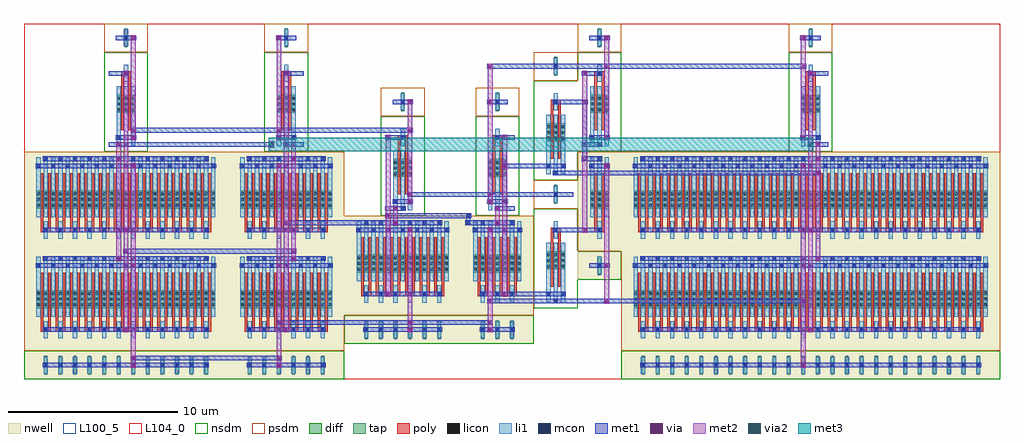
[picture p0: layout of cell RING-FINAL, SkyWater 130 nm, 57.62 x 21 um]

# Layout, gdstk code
import gdstk
lib = gdstk.Library(unit=1e-6, precision=1e-09)
def R(c, l, rs):  # rectangles x0, y0, x1, y1
    for r in rs: c.add(gdstk.rectangle(r[:2], r[2:], *l))
def A(c, l, x, y, w, h, nx, ny, dx, dy):  # array of equal rectangles
    R(c, l, [(x+i*dx, y+j*dy, x+i*dx+w, y+j*dy+h) for i in range(nx) for j in range(ny)])
nwell = (64, 20)
diff = (65, 20)
tap = (65, 44)
poly = (66, 20)
licon = (66, 44)
li1 = (67, 20)
mcon = (67, 44)
met1 = (68, 20)
via = (68, 44)
met2 = (69, 20)
via2 = (69, 44)
met3 = (70, 20)
nsdm = (93, 44)
psdm = (94, 20)
L100_5 = (100, 5)
L104_0 = (104, 0)

ring_final = lib.new_cell('RING-FINAL')
R(ring_final, nwell, [(0,0,12.04,13.44), (12.04,0,18.92,13.44), (35.26,0,57.62,13.44), (18.92,2.1,25.8,9.66), (25.8,2.1,30.1,9.66), (32.68,5.88,35.26,13.44)])
R(ring_final, diff, [(0.735,4.2,11.305,5.25), (12.775,4.2,18.185,5.25), (35.995,4.2,56.885,5.25), (19.655,6.3,25.065,7.35), (26.535,6.3,29.365,7.35), (30.835,6.51,31.945,7.56), (0.735,10.08,11.305,11.13), (12.775,10.08,18.185,11.13), (33.415,10.08,34.525,11.13), (35.995,10.08,56.885,11.13), (21.805,11.97,22.915,13.02), (27.395,11.97,28.505,13.02), (30.835,14.07,31.945,15.12), (5.465,15.75,6.575,16.8), (14.925,15.75,16.035,16.8), (33.415,15.75,34.525,16.8), (45.885,15.75,46.995,16.8)])
A(ring_final, tap, 1.205, 0.28, 0.17, 1.12, 12, 1, 0.86, 0)
A(ring_final, tap, 13.245, 0.28, 0.17, 1.12, 6, 1, 0.86, 0)
A(ring_final, tap, 36.465, 0.28, 0.17, 1.12, 24, 1, 0.86, 0)
A(ring_final, tap, 20.125, 2.38, 0.17, 1.12, 6, 1, 0.86, 0)
A(ring_final, tap, 27.005, 2.38, 0.17, 1.12, 3, 1, 0.86, 0)
R(ring_final, tap, [(33.885,6.16,34.055,7.28), (31.305,10.36,31.475,11.48), (22.275,15.82,22.445,16.94), (27.865,15.82,28.035,16.94), (31.305,17.92,31.475,19.04), (5.935,19.6,6.105,20.72), (15.395,19.6,15.565,20.72), (33.885,19.6,34.055,20.72), (46.355,19.6,46.525,20.72)])
A(ring_final, poly, 1, 2.805, 0.58, 0.27, 12, 2, 0.86, 5.88)
A(ring_final, poly, 13.04, 2.805, 0.58, 0.27, 6, 2, 0.86, 5.88)
A(ring_final, poly, 36.26, 2.805, 0.58, 0.27, 24, 1, 0.86, 0)
A(ring_final, poly, 1, 2.94, 0.15, 3.36, 24, 2, 0.43, 5.88)
A(ring_final, poly, 13.04, 2.94, 0.15, 3.36, 12, 2, 0.43, 5.88)
A(ring_final, poly, 36.26, 2.94, 0.15, 3.36, 48, 2, 0.43, 5.88)
A(ring_final, poly, 19.92, 4.905, 0.58, 0.27, 6, 1, 0.86, 0)
A(ring_final, poly, 26.8, 4.905, 0.58, 0.27, 3, 1, 0.86, 0)
A(ring_final, poly, 19.92, 5.04, 0.15, 3.36, 12, 1, 0.43, 0)
A(ring_final, poly, 26.8, 5.04, 0.15, 3.36, 6, 1, 0.43, 0)
A(ring_final, poly, 31.1, 8.685, 0.58, 0.27, 3, 1, 2.58, 0)
A(ring_final, poly, 37.12, 8.685, 0.58, 0.27, 23, 1, 0.86, 0)
R(ring_final, poly, [(31.1,5.46,31.25,8.82), (31.53,5.46,31.68,8.82), (33.68,8.82,33.83,12.18), (34.11,8.82,34.26,12.18), (22.07,10.92,22.22,14.28), (22.5,10.92,22.65,14.28), (27.66,10.92,27.81,14.28), (28.09,10.92,28.24,14.28), (31.1,13.02,31.25,16.38), (31.53,13.02,31.68,16.38), (22.07,14.145,22.65,14.415), (27.66,14.145,28.24,14.415), (5.73,14.7,5.88,18.06), (6.16,14.7,6.31,18.06), (15.19,14.7,15.34,18.06), (15.62,14.7,15.77,18.06), (33.68,14.7,33.83,18.06), (34.11,14.7,34.26,18.06), (46.15,14.7,46.3,18.06), (46.58,14.7,46.73,18.06), (31.1,16.245,31.68,16.515), (5.73,17.925,6.31,18.195), (15.19,17.925,15.77,18.195), (33.68,17.925,34.26,18.195), (46.15,17.925,46.73,18.195)])
A(ring_final, licon, 1.205, 2.855, 0.17, 0.17, 12, 2, 0.86, 5.88)
A(ring_final, licon, 13.245, 2.855, 0.17, 0.17, 6, 2, 0.86, 5.88)
A(ring_final, licon, 20.125, 2.855, 0.17, 0.17, 6, 2, 0.86, 2.1)
A(ring_final, licon, 27.005, 2.855, 0.17, 0.17, 3, 2, 0.86, 2.1)
A(ring_final, licon, 36.465, 2.855, 0.17, 0.17, 24, 1, 0.86, 0)
A(ring_final, licon, 0.775, 4.32, 0.17, 0.17, 3, 3, 0.43, 0.34)
A(ring_final, licon, 1.635, 4.32, 0.17, 0.17, 3, 3, 0.43, 0.34)
A(ring_final, licon, 2.495, 4.32, 0.17, 0.17, 3, 3, 0.43, 0.34)
A(ring_final, licon, 3.355, 4.32, 0.17, 0.17, 3, 3, 0.43, 0.34)
A(ring_final, licon, 4.215, 4.32, 0.17, 0.17, 3, 3, 0.43, 0.34)
A(ring_final, licon, 5.075, 4.32, 0.17, 0.17, 3, 3, 0.43, 0.34)
A(ring_final, licon, 5.935, 4.32, 0.17, 0.17, 3, 3, 0.43, 0.34)
A(ring_final, licon, 6.795, 4.32, 0.17, 0.17, 3, 3, 0.43, 0.34)
A(ring_final, licon, 7.655, 4.32, 0.17, 0.17, 3, 3, 0.43, 0.34)
A(ring_final, licon, 8.515, 4.32, 0.17, 0.17, 3, 3, 0.43, 0.34)
A(ring_final, licon, 9.375, 4.32, 0.17, 0.17, 3, 3, 0.43, 0.34)
A(ring_final, licon, 10.235, 4.32, 0.17, 0.17, 3, 3, 0.43, 0.34)
A(ring_final, licon, 12.815, 4.32, 0.17, 0.17, 3, 3, 0.43, 0.34)
A(ring_final, licon, 13.675, 4.32, 0.17, 0.17, 3, 3, 0.43, 0.34)
A(ring_final, licon, 14.535, 4.32, 0.17, 0.17, 3, 3, 0.43, 0.34)
A(ring_final, licon, 15.395, 4.32, 0.17, 0.17, 3, 3, 0.43, 0.34)
A(ring_final, licon, 16.255, 4.32, 0.17, 0.17, 3, 3, 0.43, 0.34)
A(ring_final, licon, 17.115, 4.32, 0.17, 0.17, 3, 3, 0.43, 0.34)
A(ring_final, licon, 36.035, 4.32, 0.17, 0.17, 3, 3, 0.43, 0.34)
A(ring_final, licon, 36.895, 4.32, 0.17, 0.17, 3, 3, 0.43, 0.34)
A(ring_final, licon, 37.755, 4.32, 0.17, 0.17, 3, 3, 0.43, 0.34)
A(ring_final, licon, 38.615, 4.32, 0.17, 0.17, 3, 3, 0.43, 0.34)
A(ring_final, licon, 39.475, 4.32, 0.17, 0.17, 3, 3, 0.43, 0.34)
A(ring_final, licon, 40.335, 4.32, 0.17, 0.17, 3, 3, 0.43, 0.34)
A(ring_final, licon, 41.195, 4.32, 0.17, 0.17, 3, 3, 0.43, 0.34)
A(ring_final, licon, 42.055, 4.32, 0.17, 0.17, 3, 3, 0.43, 0.34)
A(ring_final, licon, 42.915, 4.32, 0.17, 0.17, 3, 3, 0.43, 0.34)
A(ring_final, licon, 43.775, 4.32, 0.17, 0.17, 3, 3, 0.43, 0.34)
A(ring_final, licon, 44.635, 4.32, 0.17, 0.17, 3, 3, 0.43, 0.34)
A(ring_final, licon, 45.495, 4.32, 0.17, 0.17, 3, 3, 0.43, 0.34)
A(ring_final, licon, 46.355, 4.32, 0.17, 0.17, 3, 3, 0.43, 0.34)
A(ring_final, licon, 47.215, 4.32, 0.17, 0.17, 3, 3, 0.43, 0.34)
A(ring_final, licon, 48.075, 4.32, 0.17, 0.17, 3, 3, 0.43, 0.34)
A(ring_final, licon, 48.935, 4.32, 0.17, 0.17, 3, 3, 0.43, 0.34)
A(ring_final, licon, 49.795, 4.32, 0.17, 0.17, 3, 3, 0.43, 0.34)
A(ring_final, licon, 50.655, 4.32, 0.17, 0.17, 3, 3, 0.43, 0.34)
A(ring_final, licon, 51.515, 4.32, 0.17, 0.17, 3, 3, 0.43, 0.34)
A(ring_final, licon, 52.375, 4.32, 0.17, 0.17, 3, 3, 0.43, 0.34)
A(ring_final, licon, 53.235, 4.32, 0.17, 0.17, 3, 3, 0.43, 0.34)
A(ring_final, licon, 54.095, 4.32, 0.17, 0.17, 3, 3, 0.43, 0.34)
A(ring_final, licon, 54.955, 4.32, 0.17, 0.17, 3, 3, 0.43, 0.34)
A(ring_final, licon, 55.815, 4.32, 0.17, 0.17, 3, 3, 0.43, 0.34)
A(ring_final, licon, 19.695, 6.42, 0.17, 0.17, 3, 3, 0.43, 0.34)
A(ring_final, licon, 20.555, 6.42, 0.17, 0.17, 3, 3, 0.43, 0.34)
A(ring_final, licon, 21.415, 6.42, 0.17, 0.17, 3, 3, 0.43, 0.34)
A(ring_final, licon, 22.275, 6.42, 0.17, 0.17, 3, 3, 0.43, 0.34)
A(ring_final, licon, 23.135, 6.42, 0.17, 0.17, 3, 3, 0.43, 0.34)
A(ring_final, licon, 23.995, 6.42, 0.17, 0.17, 3, 3, 0.43, 0.34)
A(ring_final, licon, 26.575, 6.42, 0.17, 0.17, 3, 3, 0.43, 0.34)
A(ring_final, licon, 27.435, 6.42, 0.17, 0.17, 3, 3, 0.43, 0.34)
A(ring_final, licon, 28.295, 6.42, 0.17, 0.17, 3, 3, 0.43, 0.34)
A(ring_final, licon, 30.875, 6.59, 0.17, 0.17, 3, 3, 0.43, 0.34)
A(ring_final, licon, 31.305, 8.735, 0.17, 0.17, 3, 1, 2.58, 0)
A(ring_final, licon, 37.325, 8.735, 0.17, 0.17, 23, 1, 0.86, 0)
A(ring_final, licon, 0.775, 10.2, 0.17, 0.17, 3, 3, 0.43, 0.34)
A(ring_final, licon, 1.635, 10.2, 0.17, 0.17, 3, 3, 0.43, 0.34)
A(ring_final, licon, 2.495, 10.2, 0.17, 0.17, 3, 3, 0.43, 0.34)
A(ring_final, licon, 3.355, 10.2, 0.17, 0.17, 3, 3, 0.43, 0.34)
A(ring_final, licon, 4.215, 10.2, 0.17, 0.17, 3, 3, 0.43, 0.34)
A(ring_final, licon, 5.075, 10.2, 0.17, 0.17, 3, 3, 0.43, 0.34)
A(ring_final, licon, 5.935, 10.2, 0.17, 0.17, 3, 3, 0.43, 0.34)
A(ring_final, licon, 6.795, 10.2, 0.17, 0.17, 3, 3, 0.43, 0.34)
A(ring_final, licon, 7.655, 10.2, 0.17, 0.17, 3, 3, 0.43, 0.34)
A(ring_final, licon, 8.515, 10.2, 0.17, 0.17, 3, 3, 0.43, 0.34)
A(ring_final, licon, 9.375, 10.2, 0.17, 0.17, 3, 3, 0.43, 0.34)
A(ring_final, licon, 10.235, 10.2, 0.17, 0.17, 3, 3, 0.43, 0.34)
A(ring_final, licon, 12.815, 10.2, 0.17, 0.17, 3, 3, 0.43, 0.34)
A(ring_final, licon, 13.675, 10.2, 0.17, 0.17, 3, 3, 0.43, 0.34)
A(ring_final, licon, 14.535, 10.2, 0.17, 0.17, 3, 3, 0.43, 0.34)
A(ring_final, licon, 15.395, 10.2, 0.17, 0.17, 3, 3, 0.43, 0.34)
A(ring_final, licon, 16.255, 10.2, 0.17, 0.17, 3, 3, 0.43, 0.34)
A(ring_final, licon, 17.115, 10.2, 0.17, 0.17, 3, 3, 0.43, 0.34)
A(ring_final, licon, 33.455, 10.2, 0.17, 0.17, 3, 3, 0.43, 0.34)
A(ring_final, licon, 36.035, 10.2, 0.17, 0.17, 3, 3, 0.43, 0.34)
A(ring_final, licon, 36.895, 10.2, 0.17, 0.17, 3, 3, 0.43, 0.34)
A(ring_final, licon, 37.755, 10.2, 0.17, 0.17, 3, 3, 0.43, 0.34)
A(ring_final, licon, 38.615, 10.2, 0.17, 0.17, 3, 3, 0.43, 0.34)
A(ring_final, licon, 39.475, 10.2, 0.17, 0.17, 3, 3, 0.43, 0.34)
A(ring_final, licon, 40.335, 10.2, 0.17, 0.17, 3, 3, 0.43, 0.34)
A(ring_final, licon, 41.195, 10.2, 0.17, 0.17, 3, 3, 0.43, 0.34)
A(ring_final, licon, 42.055, 10.2, 0.17, 0.17, 3, 3, 0.43, 0.34)
A(ring_final, licon, 42.915, 10.2, 0.17, 0.17, 3, 3, 0.43, 0.34)
A(ring_final, licon, 43.775, 10.2, 0.17, 0.17, 3, 3, 0.43, 0.34)
A(ring_final, licon, 44.635, 10.2, 0.17, 0.17, 3, 3, 0.43, 0.34)
A(ring_final, licon, 45.495, 10.2, 0.17, 0.17, 3, 3, 0.43, 0.34)
A(ring_final, licon, 46.355, 10.2, 0.17, 0.17, 3, 3, 0.43, 0.34)
A(ring_final, licon, 47.215, 10.2, 0.17, 0.17, 3, 3, 0.43, 0.34)
A(ring_final, licon, 48.075, 10.2, 0.17, 0.17, 3, 3, 0.43, 0.34)
A(ring_final, licon, 48.935, 10.2, 0.17, 0.17, 3, 3, 0.43, 0.34)
A(ring_final, licon, 49.795, 10.2, 0.17, 0.17, 3, 3, 0.43, 0.34)
A(ring_final, licon, 50.655, 10.2, 0.17, 0.17, 3, 3, 0.43, 0.34)
A(ring_final, licon, 51.515, 10.2, 0.17, 0.17, 3, 3, 0.43, 0.34)
A(ring_final, licon, 52.375, 10.2, 0.17, 0.17, 3, 3, 0.43, 0.34)
A(ring_final, licon, 53.235, 10.2, 0.17, 0.17, 3, 3, 0.43, 0.34)
A(ring_final, licon, 54.095, 10.2, 0.17, 0.17, 3, 3, 0.43, 0.34)
A(ring_final, licon, 54.955, 10.2, 0.17, 0.17, 3, 3, 0.43, 0.34)
A(ring_final, licon, 55.815, 10.2, 0.17, 0.17, 3, 3, 0.43, 0.34)
A(ring_final, licon, 21.845, 12.05, 0.17, 0.17, 3, 3, 0.43, 0.34)
A(ring_final, licon, 27.435, 12.05, 0.17, 0.17, 3, 3, 0.43, 0.34)
A(ring_final, licon, 30.875, 14.15, 0.17, 0.17, 3, 3, 0.43, 0.34)
A(ring_final, licon, 5.505, 15.83, 0.17, 0.17, 3, 3, 0.43, 0.34)
A(ring_final, licon, 14.965, 15.83, 0.17, 0.17, 3, 3, 0.43, 0.34)
A(ring_final, licon, 33.455, 15.83, 0.17, 0.17, 3, 3, 0.43, 0.34)
A(ring_final, licon, 45.925, 15.83, 0.17, 0.17, 3, 3, 0.43, 0.34)
R(ring_final, licon, [(1.205,0.755,1.375,0.925), (1.205,0.755,1.375,0.925), (2.065,0.755,2.235,0.925), (2.065,0.755,2.235,0.925), (2.925,0.755,3.095,0.925), (2.925,0.755,3.095,0.925), (3.785,0.755,3.955,0.925), (3.785,0.755,3.955,0.925), (4.645,0.755,4.815,0.925), (4.645,0.755,4.815,0.925), (5.505,0.755,5.675,0.925), (5.505,0.755,5.675,0.925), (6.365,0.755,6.535,0.925), (6.365,0.755,6.535,0.925), (7.225,0.755,7.395,0.925), (7.225,0.755,7.395,0.925), (8.085,0.755,8.255,0.925), (8.085,0.755,8.255,0.925), (8.945,0.755,9.115,0.925), (8.945,0.755,9.115,0.925), (9.805,0.755,9.975,0.925), (9.805,0.755,9.975,0.925), (10.665,0.755,10.835,0.925), (10.665,0.755,10.835,0.925), (13.245,0.755,13.415,0.925), (13.245,0.755,13.415,0.925), (14.105,0.755,14.275,0.925), (14.105,0.755,14.275,0.925), (14.965,0.755,15.135,0.925), (14.965,0.755,15.135,0.925), (15.825,0.755,15.995,0.925), (15.825,0.755,15.995,0.925), (16.685,0.755,16.855,0.925), (16.685,0.755,16.855,0.925), (17.545,0.755,17.715,0.925), (17.545,0.755,17.715,0.925), (36.465,0.755,36.635,0.925), (36.465,0.755,36.635,0.925), (37.325,0.755,37.495,0.925), (37.325,0.755,37.495,0.925), (38.185,0.755,38.355,0.925), (38.185,0.755,38.355,0.925), (39.045,0.755,39.215,0.925), (39.045,0.755,39.215,0.925), (39.905,0.755,40.075,0.925), (39.905,0.755,40.075,0.925), (40.765,0.755,40.935,0.925), (40.765,0.755,40.935,0.925), (41.625,0.755,41.795,0.925), (41.625,0.755,41.795,0.925), (42.485,0.755,42.655,0.925), (42.485,0.755,42.655,0.925), (43.345,0.755,43.515,0.925), (43.345,0.755,43.515,0.925), (44.205,0.755,44.375,0.925), (44.205,0.755,44.375,0.925), (45.065,0.755,45.235,0.925), (45.065,0.755,45.235,0.925), (45.925,0.755,46.095,0.925), (45.925,0.755,46.095,0.925), (46.785,0.755,46.955,0.925), (46.785,0.755,46.955,0.925), (47.645,0.755,47.815,0.925), (47.645,0.755,47.815,0.925), (48.505,0.755,48.675,0.925), (48.505,0.755,48.675,0.925), (49.365,0.755,49.535,0.925), (49.365,0.755,49.535,0.925), (50.225,0.755,50.395,0.925), (50.225,0.755,50.395,0.925), (51.085,0.755,51.255,0.925), (51.085,0.755,51.255,0.925), (51.945,0.755,52.115,0.925), (51.945,0.755,52.115,0.925), (52.805,0.755,52.975,0.925), (52.805,0.755,52.975,0.925), (53.665,0.755,53.835,0.925), (53.665,0.755,53.835,0.925), (54.525,0.755,54.695,0.925), (54.525,0.755,54.695,0.925), (55.385,0.755,55.555,0.925), (55.385,0.755,55.555,0.925), (56.245,0.755,56.415,0.925), (56.245,0.755,56.415,0.925), (33.885,6.635,34.055,6.805), (31.305,10.835,31.475,11.005), (22.275,14.195,22.445,14.365), (27.865,14.195,28.035,14.365), (22.275,16.295,22.445,16.465), (27.865,16.295,28.035,16.465), (31.305,16.295,31.475,16.465), (5.935,17.975,6.105,18.145), (15.395,17.975,15.565,18.145), (33.885,17.975,34.055,18.145), (46.355,17.975,46.525,18.145), (31.305,18.395,31.475,18.565), (5.935,20.075,6.105,20.245), (15.395,20.075,15.565,20.245), (33.885,20.075,34.055,20.245), (46.355,20.075,46.525,20.245)])
A(ring_final, li1, 1.165, 0.335, 0.25, 1.01, 12, 2, 0.86, 2.1)
A(ring_final, li1, 13.205, 0.335, 0.25, 1.01, 6, 2, 0.86, 2.1)
A(ring_final, li1, 36.425, 0.335, 0.25, 1.01, 24, 2, 0.86, 2.1)
A(ring_final, li1, 20.085, 2.435, 0.25, 1.01, 6, 2, 0.86, 2.1)
A(ring_final, li1, 26.965, 2.435, 0.25, 1.01, 3, 2, 0.86, 2.1)
A(ring_final, li1, 0.735, 3.695, 0.25, 3.53, 25, 2, 0.43, 5.88)
A(ring_final, li1, 12.775, 3.695, 0.25, 3.53, 13, 2, 0.43, 5.88)
A(ring_final, li1, 35.995, 3.695, 0.25, 3.53, 49, 2, 0.43, 5.88)
A(ring_final, li1, 30.835, 4.535, 0.25, 3.53, 3, 2, 0.43, 7.56)
A(ring_final, li1, 19.655, 5.795, 0.25, 3.53, 13, 1, 0.43, 0)
A(ring_final, li1, 26.535, 5.795, 0.25, 3.53, 7, 1, 0.43, 0)
A(ring_final, li1, 1.165, 8.315, 0.25, 1.01, 12, 1, 0.86, 0)
A(ring_final, li1, 13.205, 8.315, 0.25, 1.01, 6, 1, 0.86, 0)
A(ring_final, li1, 31.265, 8.315, 0.25, 1.01, 3, 1, 2.58, 0)
A(ring_final, li1, 37.285, 8.315, 0.25, 1.01, 23, 1, 0.86, 0)
A(ring_final, li1, 33.415, 9.575, 0.25, 3.53, 3, 2, 0.43, 4.2)
A(ring_final, li1, 21.805, 9.995, 0.25, 3.53, 3, 1, 0.43, 0)
A(ring_final, li1, 27.395, 9.995, 0.25, 3.53, 3, 1, 0.43, 0)
A(ring_final, li1, 5.465, 13.775, 0.25, 3.53, 3, 1, 0.43, 0)
A(ring_final, li1, 14.925, 13.775, 0.25, 3.53, 3, 1, 0.43, 0)
A(ring_final, li1, 45.885, 13.775, 0.25, 3.53, 3, 1, 0.43, 0)
R(ring_final, li1, [(33.845,6.215,34.095,7.225), (26.105,9.155,26.355,9.745), (31.265,10.415,31.515,11.425), (32.985,12.935,33.235,16.465), (22.235,13.775,22.485,14.785), (27.825,13.775,28.075,14.785), (22.235,15.875,22.485,16.885), (27.825,15.875,28.075,16.885), (31.265,15.875,31.515,16.885), (5.895,17.555,6.145,18.565), (15.355,17.555,15.605,18.565), (33.845,17.555,34.095,18.565), (46.315,17.555,46.565,18.565), (31.265,17.975,31.515,18.985), (5.895,19.655,6.145,20.665), (15.355,19.655,15.605,20.665), (33.845,19.655,34.095,20.665), (46.315,19.655,46.565,20.665)])
A(ring_final, mcon, 1.205, 0.755, 0.17, 0.17, 12, 2, 0.86, 2.1)
A(ring_final, mcon, 13.245, 0.755, 0.17, 0.17, 6, 2, 0.86, 2.1)
A(ring_final, mcon, 36.465, 0.755, 0.17, 0.17, 24, 2, 0.86, 2.1)
A(ring_final, mcon, 20.125, 2.855, 0.17, 0.17, 6, 2, 0.86, 2.1)
A(ring_final, mcon, 27.005, 2.855, 0.17, 0.17, 3, 2, 0.86, 2.1)
A(ring_final, mcon, 0.775, 6.635, 0.17, 0.17, 13, 2, 0.86, 5.88)
A(ring_final, mcon, 12.815, 6.635, 0.17, 0.17, 7, 2, 0.86, 5.88)
A(ring_final, mcon, 36.035, 6.635, 0.17, 0.17, 25, 2, 0.86, 5.88)
A(ring_final, mcon, 1.205, 7.055, 0.17, 0.17, 12, 2, 0.86, 1.68)
A(ring_final, mcon, 13.245, 7.055, 0.17, 0.17, 6, 2, 0.86, 1.68)
A(ring_final, mcon, 36.465, 7.055, 0.17, 0.17, 24, 2, 0.86, 5.88)
A(ring_final, mcon, 19.695, 8.735, 0.17, 0.17, 7, 1, 0.86, 0)
A(ring_final, mcon, 26.575, 8.735, 0.17, 0.17, 4, 1, 0.86, 0)
A(ring_final, mcon, 31.305, 8.735, 0.17, 0.17, 3, 1, 2.58, 0)
A(ring_final, mcon, 37.325, 8.735, 0.17, 0.17, 23, 1, 0.86, 0)
A(ring_final, mcon, 20.125, 9.155, 0.17, 0.17, 6, 1, 0.86, 0)
A(ring_final, mcon, 26.145, 9.155, 0.17, 0.17, 4, 1, 0.86, 0)
A(ring_final, mcon, 1.205, 12.935, 0.17, 0.17, 12, 1, 0.86, 0)
A(ring_final, mcon, 13.245, 12.935, 0.17, 0.17, 6, 1, 0.86, 0)
A(ring_final, mcon, 22.275, 14.195, 0.17, 0.17, 3, 1, 5.59, 0)
R(ring_final, mcon, [(31.305,4.535,31.475,4.705), (30.875,4.955,31.045,5.125), (31.735,4.955,31.905,5.125), (33.885,6.635,34.055,6.805), (26.145,9.575,26.315,9.745), (22.275,9.995,22.445,10.165), (27.865,9.995,28.035,10.165), (21.845,10.415,22.015,10.585), (22.705,10.415,22.875,10.585), (27.435,10.415,27.605,10.585), (28.295,10.415,28.465,10.585), (31.305,10.835,31.475,11.005), (31.305,12.095,31.475,12.265), (30.875,12.515,31.045,12.685), (31.735,12.515,31.905,12.685), (33.455,12.515,33.625,12.685), (34.315,12.515,34.485,12.685), (33.025,12.935,33.195,13.105), (33.885,12.935,34.055,13.105), (5.935,13.775,6.105,13.945), (15.395,13.775,15.565,13.945), (33.025,13.775,33.195,13.945), (33.885,13.775,34.055,13.945), (46.355,13.775,46.525,13.945), (5.505,14.195,5.675,14.365), (6.365,14.195,6.535,14.365), (14.965,14.195,15.135,14.365), (15.825,14.195,15.995,14.365), (34.315,14.195,34.485,14.365), (45.925,14.195,46.095,14.365), (46.785,14.195,46.955,14.365), (22.275,16.295,22.445,16.465), (27.865,16.295,28.035,16.465), (31.305,16.295,31.475,16.465), (33.025,16.295,33.195,16.465), (5.935,17.975,6.105,18.145), (15.395,17.975,15.565,18.145), (33.885,17.975,34.055,18.145), (46.355,17.975,46.525,18.145), (31.305,18.395,31.475,18.565), (5.935,20.075,6.105,20.245), (15.395,20.075,15.565,20.245), (33.885,20.075,34.055,20.245), (46.355,20.075,46.525,20.245)])
A(ring_final, met1, 14.88, 14.14, 1.2, 0.28, 3, 1, 6.45, 0)
R(ring_final, met1, [(1.12,0.7,10.92,0.98), (13.16,0.7,17.8,0.98), (36.38,0.7,56.5,0.98), (6.29,1.12,15.21,1.4), (1.12,2.8,10.92,3.08), (13.16,2.8,17.8,3.08), (20.04,2.8,24.68,3.08), (26.92,2.8,28.98,3.08), (36.38,2.8,56.5,3.08), (14.89,3.22,27.68,3.5), (27.36,4.48,46.17,4.76), (20.04,4.9,24.68,5.18), (26.92,4.9,31.99,5.18), (0.69,6.58,11.35,6.86), (12.73,6.58,18.23,6.86), (33.37,6.58,34.57,6.86), (35.95,6.58,56.93,6.86), (1.12,7,10.92,7.28), (13.16,7,17.8,7.28), (36.38,7,56.5,7.28), (5.86,7.42,16.07,7.7), (1.12,8.68,10.92,8.96), (13.16,8.68,17.8,8.96), (19.61,8.68,25.11,8.96), (26.49,8.68,29.41,8.96), (31.22,8.68,34.14,8.96), (36.38,8.68,56.5,8.96), (15.32,9.1,24.68,9.38), (26.06,9.1,28.98,9.38), (21.34,9.52,26.4,9.8), (21.33,9.94,22.53,10.22), (27.78,9.94,28.98,10.22), (21.76,10.36,22.96,10.64), (27.35,10.36,28.55,10.64), (22.63,10.78,32.42,11.06), (31.22,12.04,47.03,12.32), (0.69,12.46,11.35,12.74), (12.73,12.46,18.23,12.74), (28.22,12.46,31.99,12.74), (33.37,12.46,34.57,12.74), (35.95,12.46,56.93,12.74), (1.12,12.88,10.92,13.16), (13.16,12.88,17.8,13.16), (32.94,12.88,34.14,13.16), (36.38,12.88,56.5,13.16), (4.99,13.72,14.78,14), (15.31,13.72,16.51,14), (32.94,13.72,34.14,14), (46.27,13.72,47.47,14), (5.42,14.14,6.62,14.42), (33.37,14.14,34.57,14.42), (45.84,14.14,47.04,14.42), (6.29,14.56,22.95,14.84), (21.76,16.24,22.96,16.52), (27.35,16.24,28.55,16.52), (31.22,16.24,33.28,16.52), (4.99,17.92,6.19,18.2), (15.31,17.92,16.51,18.2), (32.94,17.92,34.14,18.2), (46.27,17.92,47.47,18.2), (27.36,18.34,46.17,18.62), (5.42,20.02,6.62,20.3), (14.88,20.02,16.08,20.3), (33.37,20.02,34.57,20.3), (45.84,20.02,47.04,20.3)])
A(ring_final, via, 21.425, 4.965, 0.15, 0.15, 1, 3, 0, 4.62)
A(ring_final, via, 46.795, 12.105, 0.15, 0.15, 1, 3, 0, 0.84)
R(ring_final, via, [(6.375,0.765,6.525,0.915), (14.975,0.765,15.125,0.915), (45.935,0.765,46.085,0.915), (6.375,1.185,6.525,1.335), (14.975,1.185,15.125,1.335), (5.945,2.865,6.095,3.015), (15.405,2.865,15.555,3.015), (22.715,2.865,22.865,3.015), (27.445,2.865,27.595,3.015), (46.365,2.865,46.515,3.015), (14.975,3.285,15.125,3.435), (22.715,3.285,22.865,3.435), (27.445,3.285,27.595,3.435), (27.445,4.545,27.595,4.695), (34.325,4.545,34.475,4.695), (45.935,4.545,46.085,4.695), (28.305,4.965,28.455,5.115), (6.375,6.645,6.525,6.795), (14.975,6.645,15.125,6.795), (34.325,6.645,34.475,6.795), (45.935,6.645,46.085,6.795), (5.515,7.065,5.665,7.215), (15.835,7.065,15.985,7.215), (46.795,7.065,46.945,7.215), (5.945,7.485,6.095,7.635), (15.835,7.485,15.985,7.635), (5.945,8.745,6.095,8.895), (15.405,8.745,15.555,8.895), (22.715,8.745,22.865,8.895), (27.445,8.745,27.595,8.895), (33.035,8.745,33.185,8.895), (46.365,8.745,46.515,8.895), (15.405,9.165,15.555,9.315), (21.855,9.165,22.005,9.315), (27.875,9.165,28.025,9.315), (21.855,10.005,22.005,10.155), (27.875,10.005,28.025,10.155), (22.715,10.425,22.865,10.575), (27.445,10.425,27.595,10.575), (22.715,10.845,22.865,10.995), (27.445,10.845,27.595,10.995), (6.375,12.525,6.525,12.675), (14.975,12.525,15.125,12.675), (28.305,12.525,28.455,12.675), (34.325,12.525,34.475,12.675), (45.935,12.525,46.085,12.675), (5.515,12.945,5.665,13.095), (15.835,12.945,15.985,13.095), (5.515,13.785,5.665,13.935), (14.545,13.785,14.695,13.935), (15.835,13.785,15.985,13.935), (6.375,14.205,6.525,14.355), (14.975,14.205,15.125,14.355), (28.305,14.205,28.455,14.355), (34.325,14.205,34.475,14.355), (45.935,14.205,46.085,14.355), (6.375,14.625,6.525,14.775), (14.975,14.625,15.125,14.775), (22.715,14.625,22.865,14.775), (22.715,16.305,22.865,16.455), (27.445,16.305,27.595,16.455), (5.945,17.985,6.095,18.135), (15.405,17.985,15.555,18.135), (33.035,17.985,33.185,18.135), (46.365,17.985,46.515,18.135), (27.445,18.405,27.595,18.555), (34.325,18.405,34.475,18.555), (45.935,18.405,46.085,18.555), (6.375,20.085,6.525,20.235), (14.975,20.085,15.125,20.235), (34.325,20.085,34.475,20.235), (45.935,20.085,46.085,20.235)])
R(ring_final, met2, [(6.31,0.68,6.59,12.76), (14.91,0.68,15.19,12.76), (45.87,0.68,46.15,12.76), (5.88,2.78,6.16,18.22), (15.34,2.78,15.62,18.22), (22.65,2.78,22.93,8.98), (27.38,2.78,27.66,8.98), (46.3,2.78,46.58,18.22), (34.26,4.46,34.54,12.76), (21.36,4.88,21.64,14.44), (28.24,4.88,28.52,14.44), (5.45,6.98,5.73,14.02), (15.77,6.98,16.05,14.02), (46.73,6.98,47.01,14.02), (32.97,8.66,33.25,18.22), (21.79,9.08,22.07,10.24), (27.81,9.08,28.09,10.24), (22.65,10.34,22.93,16.54), (27.38,10.34,27.66,18.64), (14.48,13.675,14.76,14.045), (6.31,14.12,6.59,20.32), (14.91,14.12,15.19,20.32), (34.26,14.12,34.54,20.32), (45.87,14.12,46.15,20.32)])
R(ring_final, via2, [(14.52,13.76,14.72,13.96), (46.34,13.76,46.54,13.96)])
R(ring_final, met3, [(14.455,13.46,46.605,14.26)])
R(ring_final, nsdm, [(0,0,12.04,1.68), (12.04,0,18.92,1.68), (35.26,0,57.62,1.68), (18.92,2.1,25.8,3.78), (25.8,2.1,30.1,3.78), (30.1,4.2,32.68,10.08), (32.68,5.88,35.26,7.56), (21.07,9.66,23.65,15.54), (26.66,9.66,29.24,15.54), (30.1,11.76,32.68,17.64), (4.73,13.44,7.31,19.32), (14.19,13.44,16.77,19.32), (32.68,13.44,35.26,19.32), (45.15,13.44,47.73,19.32)])
R(ring_final, psdm, [(0,1.68,12.04,13.44), (12.04,1.68,18.92,13.44), (35.26,1.68,57.62,13.44), (18.92,3.78,25.8,9.66), (25.8,3.78,30.1,9.66), (32.68,7.56,35.26,13.44), (30.1,10.08,32.68,11.76), (21.07,15.54,23.65,17.22), (26.66,15.54,29.24,17.22), (30.1,17.64,32.68,19.32), (4.73,19.32,7.31,21), (14.19,19.32,16.77,21), (32.68,19.32,35.26,21), (45.15,19.32,47.73,21)])
R(ring_final, L100_5, [(0,0,57.62,21)])
R(ring_final, L104_0, [(0,0,57.62,21)])

lib.write_gds('RING-FINAL.gds')
